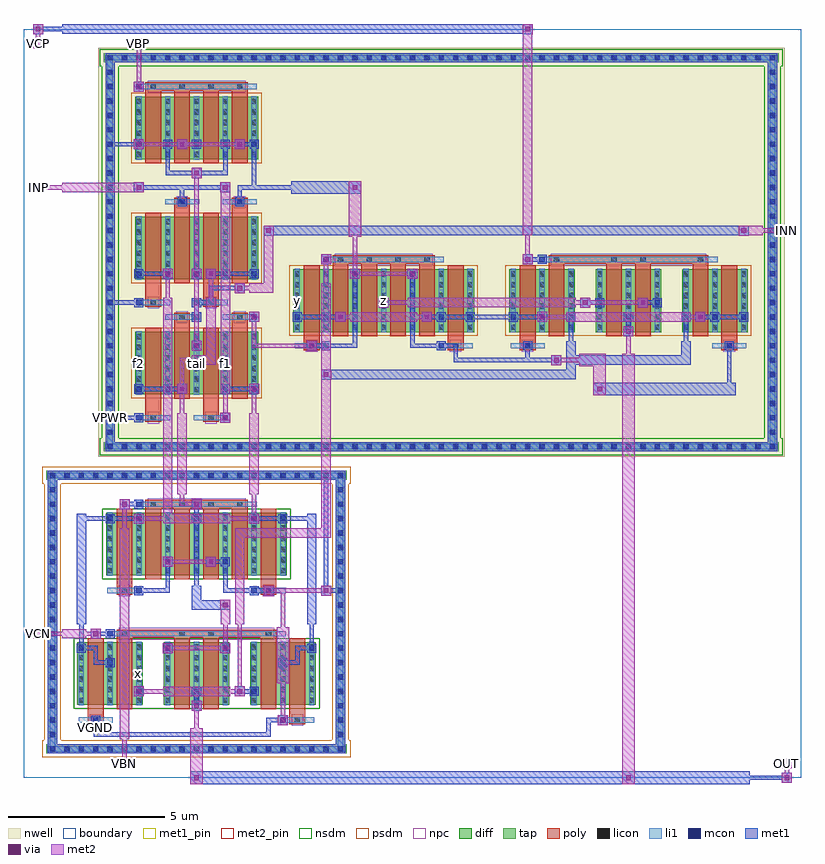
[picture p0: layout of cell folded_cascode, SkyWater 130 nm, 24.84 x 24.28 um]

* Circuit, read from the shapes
.subckt folded_cascode INN INP OUT VBN VBP VCN VCP VGND VPWR f1 f2 tail x y z
XM1 f1 VGND f1 VGND sky130_fd_pr__nfet_01v8 w=2 l=0.5 m=4
XM2 x VCN f1 VGND sky130_fd_pr__nfet_01v8 w=2 l=0.5 m=2
XM3 VGND VBN f1 VGND sky130_fd_pr__nfet_01v8 w=2 l=0.5 m=2
XM4 OUT VCN f2 VGND sky130_fd_pr__nfet_01v8 w=2 l=0.5 m=2
XM5 f2 VBN VGND VGND sky130_fd_pr__nfet_01v8 w=2 l=0.5 m=2
XM6 f2 VPWR f2 VPWR sky130_fd_pr__pfet_01v8 w=2 l=0.5 m=2
XM7 f1 VPWR f1 VPWR sky130_fd_pr__pfet_01v8 w=2 l=0.5 m=2
XM8 tail VBP VPWR VPWR sky130_fd_pr__pfet_01v8 w=2 l=0.5 m=4
XM9 tail INN f2 VPWR sky130_fd_pr__pfet_01v8 w=2 l=0.5 m=2
XM10 tail INP f1 VPWR sky130_fd_pr__pfet_01v8 w=2 l=0.5 m=2
XM11 y VPWR y VPWR sky130_fd_pr__pfet_01v8 w=2 l=0.5 m=4
XM12 VPWR x y VPWR sky130_fd_pr__pfet_01v8 w=2 l=0.5 m=2
XM13 z x VPWR VPWR sky130_fd_pr__pfet_01v8 w=2 l=0.5 m=2
XM14 x VCP y VPWR sky130_fd_pr__pfet_01v8 w=2 l=0.5 m=2
XM15 OUT VCP z VPWR sky130_fd_pr__pfet_01v8 w=2 l=0.5 m=2
.ends

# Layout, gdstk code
import gdstk
lib = gdstk.Library(unit=1e-6, precision=1e-09)
def R(c, l, rs):  # rectangles x0, y0, x1, y1
    for r in rs: c.add(gdstk.rectangle(r[:2], r[2:], *l))
def A(c, l, x, y, w, h, nx, ny, dx, dy):  # array of equal rectangles
    R(c, l, [(x+i*dx, y+j*dy, x+i*dx+w, y+j*dy+h) for i in range(nx) for j in range(ny)])
nwell = (64, 20)
diff = (65, 20)
tap = (65, 44)
poly = (66, 20)
licon = (66, 44)
li1 = (67, 20)
mcon = (67, 44)
met1_pin = (68, 16)
met1 = (68, 20)
via = (68, 44)
met2_pin = (69, 16)
met2 = (69, 20)
nsdm = (93, 44)
psdm = (94, 20)
npc = (95, 20)
boundary = (235, 4)

folded_cascode = lib.new_cell('folded_cascode')
R(folded_cascode, nwell, [(2.375,10.255,24.305,23.325)])
A(folded_cascode, diff, 1.715, 2.325, 2.09, 2, 3, 1, 2.76, 0)
A(folded_cascode, diff, 15.515, 14.24, 2.09, 2, 3, 1, 2.76, 0)
R(folded_cascode, diff, [(2.635,6.465,8.405,8.465), (3.555,12.245,7.485,14.245), (8.615,14.24,14.385,16.24), (3.555,15.925,7.485,17.925), (3.555,19.76,7.485,21.76)])
R(folded_cascode, tap, [(0.715,0.775,10.325,1.065), (0.775,0.775,1.065,9.805), (9.975,0.775,10.265,9.805), (0.715,9.515,10.325,9.805), (2.555,10.435,24.125,10.725), (2.615,10.435,2.905,23.145), (23.775,10.435,24.065,23.145), (2.555,22.855,24.125,23.145)])
A(folded_cascode, poly, 3.89, 6.335, 0.5, 2.405, 4, 1, 0.92, 0)
A(folded_cascode, poly, 9.87, 14.11, 0.5, 2.45, 4, 1, 0.92, 0)
A(folded_cascode, poly, 3.89, 19.63, 0.5, 2.45, 4, 1, 0.92, 0)
R(folded_cascode, poly, [(2.05,1.705,2.55,1.975), (8.49,1.705,8.99,1.975), (2.05,1.84,2.55,4.455), (8.49,1.84,8.99,4.455), (2.97,2.195,3.47,4.6), (4.81,2.195,5.31,4.6), (5.73,2.195,6.23,4.6), (7.57,2.195,8.07,4.6), (2.97,4.465,8.07,4.735), (2.97,5.845,3.47,6.115), (7.57,5.845,8.07,6.115), (2.97,5.98,3.47,8.595), (7.57,5.98,8.07,8.595), (3.89,8.605,7.15,8.875), (3.89,11.365,4.39,11.635), (5.73,11.365,6.23,11.635), (3.89,11.5,4.39,14.375), (5.73,11.5,6.23,14.375), (4.81,12.115,5.31,14.72), (6.65,12.115,7.15,14.72), (8.95,13.665,9.45,13.935), (13.55,13.665,14.05,13.935), (15.85,13.665,16.35,13.935), (22.29,13.665,22.79,13.935), (8.95,13.8,9.45,16.37), (13.55,13.8,14.05,16.37), (15.85,13.8,16.35,16.37), (22.29,13.8,22.79,16.37), (16.77,14.11,17.27,16.56), (18.61,14.11,19.11,16.56), (19.53,14.11,20.03,16.56), (21.37,14.11,21.87,16.56), (4.81,14.585,5.31,14.855), (6.65,14.585,7.15,14.855), (3.89,15.045,4.39,15.315), (5.73,15.045,6.23,15.315), (3.89,15.18,4.39,18.055), (5.73,15.18,6.23,18.055), (4.81,15.795,5.31,18.4), (6.65,15.795,7.15,18.4), (9.87,16.425,13.13,16.695), (16.77,16.425,21.87,16.695), (4.81,18.265,5.31,18.535), (6.65,18.265,7.15,18.535), (3.89,21.945,7.15,22.215)])
A(folded_cascode, licon, 0.835, 0.835, 0.17, 0.17, 21, 2, 0.46, 8.74)
A(folded_cascode, licon, 0.835, 1.295, 0.17, 0.17, 1, 18, 0, 0.46)
A(folded_cascode, licon, 10.035, 1.295, 0.17, 0.17, 1, 18, 0, 0.46)
A(folded_cascode, licon, 1.755, 2.39, 0.17, 0.17, 9, 6, 0.92, 0.34)
A(folded_cascode, licon, 2.675, 6.53, 0.17, 0.17, 7, 6, 0.92, 0.34)
A(folded_cascode, licon, 4.055, 8.655, 0.17, 0.17, 4, 2, 0.92, 13.34)
A(folded_cascode, licon, 2.675, 10.495, 0.17, 0.17, 47, 2, 0.46, 12.42)
A(folded_cascode, licon, 2.675, 10.955, 0.17, 0.17, 1, 26, 0, 0.46)
A(folded_cascode, licon, 23.835, 10.955, 0.17, 0.17, 1, 26, 0, 0.46)
A(folded_cascode, licon, 3.595, 12.31, 0.17, 0.17, 5, 6, 0.92, 0.34)
A(folded_cascode, licon, 8.655, 14.305, 0.17, 0.17, 7, 6, 0.92, 0.34)
A(folded_cascode, licon, 15.555, 14.305, 0.17, 0.17, 9, 6, 0.92, 0.34)
A(folded_cascode, licon, 3.595, 15.99, 0.17, 0.17, 5, 6, 0.92, 0.34)
A(folded_cascode, licon, 10.035, 16.475, 0.17, 0.17, 4, 1, 0.92, 0)
A(folded_cascode, licon, 3.595, 19.825, 0.17, 0.17, 5, 6, 0.92, 0.34)
R(folded_cascode, licon, [(2.215,1.755,2.385,1.925), (8.655,1.755,8.825,1.925), (3.135,4.515,3.305,4.685), (4.975,4.515,5.145,4.685), (5.895,4.515,6.065,4.685), (7.735,4.515,7.905,4.685), (3.135,5.895,3.305,6.065), (7.735,5.895,7.905,6.065), (4.055,11.415,4.225,11.585), (5.895,11.415,6.065,11.585), (9.115,13.715,9.285,13.885), (13.715,13.715,13.885,13.885), (16.015,13.715,16.185,13.885), (22.455,13.715,22.625,13.885), (4.975,14.635,5.145,14.805), (6.815,14.635,6.985,14.805), (4.055,15.095,4.225,15.265), (5.895,15.095,6.065,15.265), (16.935,16.475,17.105,16.645), (18.775,16.475,18.945,16.645), (19.695,16.475,19.865,16.645), (21.535,16.475,21.705,16.645), (4.975,18.315,5.145,18.485), (6.815,18.315,6.985,18.485)])
A(folded_cascode, li1, 1.755, 2.31, 0.17, 2.03, 9, 1, 0.92, 0)
A(folded_cascode, li1, 2.675, 6.45, 0.17, 2.03, 7, 1, 0.92, 0)
A(folded_cascode, li1, 3.595, 12.23, 0.17, 2.03, 5, 2, 0.92, 3.68)
A(folded_cascode, li1, 8.655, 14.225, 0.17, 2.03, 7, 1, 0.92, 0)
A(folded_cascode, li1, 15.555, 14.225, 0.17, 2.03, 9, 1, 0.92, 0)
A(folded_cascode, li1, 3.595, 19.745, 0.17, 2.03, 5, 1, 0.92, 0)
R(folded_cascode, li1, [(0.755,0.835,10.285,1.005), (0.835,0.835,1.005,9.745), (10.035,0.835,10.205,9.745), (1.755,1.755,2.845,1.925), (8.195,1.755,9.285,1.925), (2.675,4.515,8.365,4.685), (2.675,5.895,3.765,6.065), (7.275,5.895,8.365,6.065), (3.595,8.655,7.445,8.825), (0.755,9.575,10.285,9.745), (2.595,10.495,24.085,10.665), (2.675,10.495,2.845,23.085), (23.835,10.495,24.005,23.085), (3.595,11.415,4.685,11.585), (5.435,11.415,6.525,11.585), (8.655,13.715,9.745,13.885), (13.255,13.715,14.345,13.885), (15.555,13.715,16.645,13.885), (21.995,13.715,23.085,13.885), (4.515,14.635,5.605,14.805), (6.355,14.635,7.445,14.805), (3.595,15.095,4.685,15.265), (5.435,15.095,6.525,15.265), (9.575,16.475,13.425,16.645), (16.475,16.475,22.165,16.645), (4.515,18.315,5.605,18.485), (6.355,18.315,7.445,18.485), (3.595,21.995,7.445,22.165), (2.595,22.915,24.085,23.085)])
A(folded_cascode, mcon, 0.835, 0.835, 0.17, 0.17, 21, 2, 0.46, 8.74)
A(folded_cascode, mcon, 0.835, 1.295, 0.17, 0.17, 1, 18, 0, 0.46)
A(folded_cascode, mcon, 10.035, 1.295, 0.17, 0.17, 1, 18, 0, 0.46)
A(folded_cascode, mcon, 3.595, 2.675, 0.17, 0.17, 3, 2, 1.84, 5.52)
A(folded_cascode, mcon, 3.595, 5.895, 0.17, 0.17, 1, 3, 0, 2.76)
A(folded_cascode, mcon, 2.675, 10.495, 0.17, 0.17, 47, 2, 0.46, 12.42)
A(folded_cascode, mcon, 2.675, 10.955, 0.17, 0.17, 1, 3, 0, 0.46)
A(folded_cascode, mcon, 23.835, 10.955, 0.17, 0.17, 1, 8, 0, 0.46)
A(folded_cascode, mcon, 2.675, 12.335, 0.17, 0.17, 3, 1, 0.92, 0)
A(folded_cascode, mcon, 2.675, 12.795, 0.17, 0.17, 1, 7, 0, 0.46)
A(folded_cascode, mcon, 15.555, 14.635, 0.17, 0.17, 3, 1, 0.92, 0)
A(folded_cascode, mcon, 21.075, 14.635, 0.17, 0.17, 4, 1, 0.92, 0)
A(folded_cascode, mcon, 23.835, 15.095, 0.17, 0.17, 1, 17, 0, 0.46)
A(folded_cascode, mcon, 2.675, 16.015, 0.17, 0.17, 6, 2, 0.92, 4.14)
A(folded_cascode, mcon, 2.675, 16.475, 0.17, 0.17, 3, 1, 6.9, 0)
A(folded_cascode, mcon, 2.675, 16.935, 0.17, 0.17, 1, 7, 0, 0.46)
A(folded_cascode, mcon, 2.675, 20.615, 0.17, 0.17, 1, 5, 0, 0.46)
R(folded_cascode, mcon, [(2.215,1.755,2.385,1.925), (8.195,1.755,8.365,1.925), (2.675,3.595,2.845,3.765), (8.195,3.595,8.365,3.765), (1.755,4.055,1.925,4.225), (4.515,4.055,4.685,4.225), (6.355,4.055,6.525,4.225), (9.115,4.055,9.285,4.225), (2.675,4.515,2.845,4.685), (7.275,5.895,7.445,6.065), (4.515,6.815,4.685,6.985), (6.355,6.815,6.525,6.985), (2.675,8.195,2.845,8.365), (8.195,8.195,8.365,8.365), (6.355,11.415,6.525,11.585), (6.355,12.335,6.525,12.505), (7.275,12.335,7.445,12.505), (5.435,13.715,5.605,13.885), (9.575,13.715,9.745,13.885), (13.255,13.715,13.425,13.885), (16.015,13.715,16.185,13.885), (22.455,13.715,22.625,13.885), (5.435,14.635,5.605,14.805), (7.275,14.635,7.445,14.805), (8.655,14.635,8.825,14.805), (9.575,14.635,9.745,14.805), (13.255,14.635,13.425,14.805), (14.175,14.635,14.345,14.805), (19.235,14.635,19.405,14.805), (3.595,15.095,3.765,15.265), (5.435,15.095,5.605,15.265), (11.415,15.095,11.585,15.265), (18.315,15.095,18.485,15.265), (20.155,15.095,20.325,15.265), (10.495,16.015,10.665,16.185), (12.335,16.015,12.505,16.185), (4.975,18.315,5.145,18.485), (6.815,18.315,6.985,18.485), (3.595,21.995,3.765,22.165)])
R(folded_cascode, met1_pin, [(2.23,1.31,2.37,1.91), (2.69,11.43,2.83,11.57)])
A(folded_cascode, met1, 3.535, 2.615, 0.29, 0.29, 3, 2, 1.84, 5.52)
A(folded_cascode, met1, 3.535, 5.835, 0.29, 0.29, 1, 3, 0, 2.76)
A(folded_cascode, met1, 7.2, 14.56, 0.32, 0.32, 3, 1, 2.76, 0)
A(folded_cascode, met1, 15.495, 14.575, 0.29, 0.29, 3, 1, 0.92, 0)
A(folded_cascode, met1, 21.015, 14.575, 0.29, 0.29, 3, 1, 0.92, 0)
A(folded_cascode, met1, 3.535, 15.955, 0.29, 0.29, 5, 2, 0.92, 4.14)
R(folded_cascode, met1, [(5.32,-0.2,23.2,0.2), (5.32,-0.2,5.72,0.2), (19.12,-0.2,19.52,0.2), (24.22,-0.16,24.54,0.16), (22.93,-0.07,24.45,0.07), (0.775,0.775,1.065,9.805), (0.775,0.775,10.265,1.065), (9.975,0.775,10.265,9.805), (2.23,1.31,2.37,1.91), (2.23,1.31,7.89,1.45), (7.75,1.31,7.89,1.91), (8.12,1.68,8.44,2), (2.155,1.695,2.445,1.985), (8.135,1.695,8.425,1.985), (7.75,1.77,8.35,1.91), (5.36,2.14,5.68,2.46), (5.45,2.23,5.59,2.83), (3.52,2.6,3.84,2.92), (6.74,2.6,7.06,2.92), (6.83,2.69,7.43,2.83), (2.615,3.535,2.905,3.825), (8.135,3.535,8.425,3.825), (2.23,3.61,2.83,3.75), (2.23,3.61,2.37,4.21), (8.21,3.61,8.81,3.75), (8.67,3.61,8.81,4.21), (4.44,3.98,4.76,4.3), (6.28,3.98,6.6,4.3), (1.695,3.995,1.985,4.285), (4.455,3.995,4.745,4.285), (6.295,3.995,6.585,4.285), (9.055,3.995,9.345,4.285), (1.77,4.07,2.37,4.21), (1.77,4.07,1.91,5.13), (8.67,4.07,9.27,4.21), (9.13,4.07,9.27,5.13), (2.14,4.44,2.46,4.76), (2.615,4.455,2.905,4.745), (2.23,4.53,2.83,4.67), (1.69,4.91,1.99,8.43), (9.05,4.91,9.35,8.43), (6.28,5.36,6.6,5.68), (5.37,5.37,5.67,6.13), (5.37,5.37,6.59,5.67), (7.66,5.82,7.98,6.14), (9.5,5.82,9.82,6.14), (7.215,5.835,7.505,6.125), (3.61,5.91,4.67,6.05), (4.53,5.91,4.67,6.97), (5.45,5.91,5.59,8.35), (6.37,5.91,7.43,6.05), (6.37,5.91,6.51,6.97), (7.29,5.91,7.89,6.05), (9.59,5.91,9.73,9.73), (9.59,5.91,10.19,6.05), (10.05,5.91,10.19,6.05), (4.44,6.74,4.76,7.06), (5.82,6.74,6.14,7.06), (4.455,6.755,4.745,7.045), (6.295,6.755,6.585,7.045), (5.91,6.83,6.51,6.97), (3.52,8.12,3.84,8.44), (7.2,8.12,7.52,8.44), (2.615,8.135,2.905,8.425), (8.135,8.135,8.425,8.425), (1.77,8.21,2.83,8.35), (2.69,8.21,3.75,8.35), (5.45,8.21,5.59,8.81), (7.29,8.21,8.35,8.35), (8.21,8.21,9.27,8.35), (3.06,8.58,3.38,8.9), (5.36,8.58,5.68,8.9), (3.15,8.67,3.75,8.81), (0.775,9.515,10.265,9.805), (9.59,9.59,9.73,9.73), (2.615,10.435,24.065,10.725), (2.615,10.435,2.905,23.145), (23.775,10.435,24.065,23.145), (6.28,11.34,6.6,11.66), (6.295,11.355,6.585,11.645), (2.69,11.43,2.83,15.25), (2.69,11.43,3.75,11.57), (2.69,11.43,2.83,11.57), (18.2,12.22,18.6,12.62), (18.2,12.22,22.74,12.62), (4.9,12.26,5.22,12.58), (7.2,12.26,7.52,12.58), (3.535,12.275,3.825,12.565), (4.455,12.275,4.745,12.565), (6.295,12.275,6.585,12.565), (7.215,12.275,7.505,12.565), (3.61,12.35,4.67,12.49), (4.53,12.35,5.13,12.49), (6.37,12.35,7.43,12.49), (22.47,12.35,22.61,13.87), (9.5,12.72,9.82,13.04), (9.51,12.73,17.63,13.03), (17.33,12.73,17.63,13.95), (16.86,13.18,17.18,13.5), (17.33,13.19,21.31,13.49), (21.01,13.19,21.31,13.95), (13.73,13.27,13.87,13.87), (13.73,13.27,16.17,13.41), (16.03,13.27,17.09,13.41), (16.03,13.27,16.17,13.87), (5.36,13.64,5.68,13.96), (9.04,13.64,9.36,13.96), (5.375,13.655,5.665,13.945), (9.515,13.655,9.805,13.945), (13.195,13.655,13.485,13.945), (15.955,13.655,16.245,13.945), (22.395,13.655,22.685,13.945), (9.13,13.73,9.73,13.87), (9.59,13.73,10.65,13.87), (10.51,13.73,10.65,16.17), (12.35,13.73,12.49,16.17), (12.35,13.73,13.41,13.87), (13.27,13.73,13.87,13.87), (17.41,13.73,17.55,14.79), (21.09,13.73,21.23,14.79), (19.16,14.1,19.48,14.42), (19.25,14.19,19.39,14.79), (16.4,14.56,16.72,14.88), (21.46,14.56,21.78,14.88), (5.375,14.575,5.665,14.865), (7.215,14.575,7.505,14.865), (8.595,14.575,8.885,14.865), (9.515,14.575,9.805,14.865), (13.195,14.575,13.485,14.865), (14.115,14.575,14.405,14.865), (19.175,14.575,19.465,14.865), (5.45,14.65,5.59,15.25), (8.67,14.65,9.73,14.79), (9.59,14.65,10.19,14.79), (12.81,14.65,13.41,14.79), (13.27,14.65,14.33,14.79), (14.19,14.65,15.71,14.79), (15.57,14.65,16.63,14.79), (21.55,14.65,22.15,14.79), (22.01,14.65,23.07,14.79), (11.34,15.02,11.66,15.34), (17.78,15.02,18.1,15.34), (19.62,15.02,19.94,15.34), (3.535,15.035,3.825,15.325), (5.375,15.035,5.665,15.325), (11.355,15.035,11.645,15.325), (18.255,15.035,18.545,15.325), (20.095,15.035,20.385,15.325), (2.69,15.11,3.75,15.25), (2.69,15.11,2.83,20.31), (5.45,15.11,6.05,15.25), (5.91,15.11,6.05,15.71), (17.87,15.11,18.47,15.25), (19.71,15.11,20.31,15.25), (6.74,15.48,7.06,15.8), (5.91,15.57,6.97,15.71), (4.44,15.94,4.76,16.26), (5.36,15.94,5.68,16.26), (5.82,15.94,6.14,16.26), (10.42,15.94,10.74,16.26), (12.26,15.94,12.58,16.26), (10.435,15.955,10.725,16.245), (12.275,15.955,12.565,16.245), (3.61,16.03,4.67,16.17), (5.91,16.03,6.51,16.17), (6.37,16.03,7.43,16.17), (9.5,16.4,9.82,16.72), (15.94,16.4,16.26,16.72), (9.515,16.415,9.805,16.705), (16.415,16.415,16.705,16.705), (16.03,16.49,16.63,16.63), (7.66,17.32,7.98,17.64), (22.84,17.32,23.16,17.64), (7.67,17.33,23.15,17.63), (4.915,18.255,5.205,18.545), (6.755,18.255,7.045,18.545), (4.99,18.33,5.13,18.93), (6.83,18.33,6.97,18.93), (8.54,18.66,10.78,19.06), (10.38,18.66,10.78,19.06), (3.52,18.7,3.84,19.02), (6.28,18.7,6.6,19.02), (3.61,18.79,5.13,18.93), (4.99,18.79,6.51,18.93), (6.83,18.79,7.43,18.93), (7.29,18.79,8.81,18.93), (7.29,18.79,7.43,20.31), (5.36,19.16,5.68,19.48), (4.53,19.25,5.59,19.39), (4.53,19.25,4.67,20.31), (5.45,19.25,6.51,19.39), (6.37,19.25,6.51,20.31), (3.52,20.08,3.84,20.4), (4.9,20.08,5.22,20.4), (6.74,20.08,7.06,20.4), (2.69,20.17,3.75,20.31), (2.69,20.17,2.83,23.07), (4.99,20.17,5.59,20.31), (6.83,20.17,7.43,20.31), (3.52,21.92,3.84,22.24), (3.535,21.935,3.825,22.225), (2.615,22.855,24.065,23.145), (2.69,22.93,2.83,23.07), (0.3,23.76,0.62,24.08), (15.94,23.76,16.26,24.08), (1.23,23.77,16.25,24.07), (0.39,23.85,1.45,23.99)])
A(folded_cascode, via, 7.285, 14.645, 0.15, 0.15, 3, 1, 2.76, 0)
R(folded_cascode, via, [(5.445,-0.075,5.595,0.075), (19.245,-0.075,19.395,0.075), (24.305,-0.075,24.455,0.075), (8.205,1.765,8.355,1.915), (5.445,2.225,5.595,2.375), (3.605,2.685,3.755,2.835), (6.825,2.685,6.975,2.835), (4.525,4.065,4.675,4.215), (6.365,4.065,6.515,4.215), (2.225,4.525,2.375,4.675), (6.365,5.445,6.515,5.595), (7.745,5.905,7.895,6.055), (9.585,5.905,9.735,6.055), (4.525,6.825,4.675,6.975), (5.905,6.825,6.055,6.975), (3.605,8.205,3.755,8.355), (7.285,8.205,7.435,8.355), (3.145,8.665,3.295,8.815), (5.445,8.665,5.595,8.815), (6.365,11.425,6.515,11.575), (4.985,12.345,5.135,12.495), (7.285,12.345,7.435,12.495), (18.325,12.345,18.475,12.495), (9.585,12.805,9.735,12.955), (16.945,13.265,17.095,13.415), (5.445,13.725,5.595,13.875), (9.125,13.725,9.275,13.875), (19.245,14.185,19.395,14.335), (16.485,14.645,16.635,14.795), (21.545,14.645,21.695,14.795), (11.425,15.105,11.575,15.255), (17.865,15.105,18.015,15.255), (19.705,15.105,19.855,15.255), (6.825,15.565,6.975,15.715), (4.525,16.025,4.675,16.175), (5.445,16.025,5.595,16.175), (5.905,16.025,6.055,16.175), (10.505,16.025,10.655,16.175), (12.345,16.025,12.495,16.175), (9.585,16.485,9.735,16.635), (16.025,16.485,16.175,16.635), (7.745,17.405,7.895,17.555), (22.925,17.405,23.075,17.555), (3.605,18.785,3.755,18.935), (6.365,18.785,6.515,18.935), (10.505,18.785,10.655,18.935), (5.445,19.245,5.595,19.395), (3.605,20.165,3.755,20.315), (4.985,20.165,5.135,20.315), (6.825,20.165,6.975,20.315), (3.605,22.005,3.755,22.155), (0.385,23.845,0.535,23.995), (16.025,23.845,16.175,23.995)])
R(folded_cascode, met2_pin, [(3.07,0.31,3.37,0.61), (24.23,0.31,24.53,0.61), (0.31,4.45,0.61,4.75), (24.23,17.33,24.53,17.63), (0.31,18.71,0.61,19.01), (0.31,23.31,0.61,23.61), (3.53,23.31,3.83,23.61)])
A(folded_cascode, met2, 7.2, 14.56, 0.32, 0.32, 3, 1, 2.76, 0)
R(folded_cascode, met2, [(5.32,-0.2,5.72,0.2), (5.32,-0.2,5.72,1.58), (19.12,-0.2,19.52,13.54), (19.12,-0.2,19.52,0.2), (24.22,-0.16,24.54,0.16), (24.31,-0.07,24.45,0.53), (3.07,0.31,3.37,0.61), (24.23,0.31,24.53,0.61), (3.15,0.39,3.29,1.45), (3.15,0.39,3.29,0.53), (24.31,0.39,24.45,0.53), (3.07,1.23,3.37,7.97), (5.45,1.31,5.59,2.37), (8.12,1.68,8.44,2), (8.21,1.77,8.35,3.29), (5.36,2.14,5.68,2.46), (3.52,2.6,3.84,2.92), (6.74,2.6,7.06,2.92), (4.45,2.61,6.59,2.91), (3.61,2.69,4.67,2.83), (6.37,2.69,6.97,2.83), (6.83,2.69,6.97,5.13), (8.08,3.02,8.48,4.8), (4.44,3.98,4.76,4.3), (6.28,3.98,6.6,4.3), (4.53,4.07,6.51,4.21), (6.37,4.07,6.51,5.13), (2.14,4.44,2.46,4.76), (0.31,4.45,0.61,4.75), (1.23,4.45,1.99,4.75), (0.39,4.53,1.45,4.67), (0.39,4.53,0.53,4.67), (1.77,4.53,2.37,4.67), (8.21,4.53,8.35,6.05), (6.29,4.91,6.59,5.67), (6.75,4.91,7.05,7.97), (6.28,5.36,6.6,5.68), (7.66,5.82,7.98,6.14), (9.5,5.82,9.82,6.14), (7.75,5.91,9.73,6.05), (4.44,6.74,4.76,7.06), (5.82,6.74,6.14,7.06), (4.53,6.83,6.05,6.97), (6.75,7.67,9.81,7.97), (9.51,7.67,9.81,15.79), (3.15,7.75,3.29,8.81), (3.52,8.12,3.84,8.44), (7.2,8.12,7.52,8.44), (4.45,8.13,4.75,15.33), (4.45,8.13,6.59,8.43), (3.61,8.21,4.67,8.35), (6.37,8.21,7.43,8.35), (7.29,8.21,7.43,9.27), (3.06,8.58,3.38,8.9), (5.36,8.58,5.68,8.9), (4.99,8.67,5.59,8.81), (4.99,8.67,5.13,9.27), (4.91,9.05,5.21,11.65), (7.21,9.05,7.51,11.65), (6.28,11.34,6.6,11.66), (4.99,11.43,5.13,12.49), (6.37,11.43,6.51,12.49), (7.29,11.43,7.43,12.49), (18.2,12.22,18.6,13.54), (18.2,12.22,18.6,12.62), (4.9,12.26,5.22,12.58), (7.2,12.26,7.52,12.58), (6.29,12.27,6.59,19.01), (4.99,12.35,5.13,13.41), (9.5,12.72,9.82,13.04), (17.74,13.14,18.6,13.54), (16.86,13.18,17.18,13.5), (5.37,13.19,6.13,13.49), (5.83,13.19,6.13,15.33), (4.99,13.27,5.59,13.41), (16.95,13.27,18.01,13.41), (19.25,13.27,19.39,14.33), (5.36,13.64,5.68,13.96), (9.04,13.64,9.36,13.96), (5.45,13.73,5.59,16.17), (7.29,13.73,7.43,14.79), (7.29,13.73,9.27,13.87), (19.16,14.1,19.48,14.42), (16.4,14.56,16.72,14.88), (21.46,14.56,21.78,14.88), (10.43,14.57,12.57,14.87), (17.33,14.57,21.31,14.87), (10.05,14.65,10.65,14.79), (12.35,14.65,12.95,14.79), (16.49,14.65,17.55,14.79), (21.09,14.65,21.69,14.79), (11.34,15.02,11.66,15.34), (17.78,15.02,18.1,15.34), (19.62,15.02,19.94,15.34), (12.27,15.03,17.63,15.33), (4.53,15.11,4.67,16.17), (5.91,15.11,6.05,16.17), (11.43,15.11,12.49,15.25), (17.41,15.11,18.01,15.25), (17.87,15.11,19.85,15.25), (6.74,15.48,7.06,15.8), (7.21,15.49,7.97,15.79), (7.67,15.49,7.97,17.63), (6.83,15.57,7.43,15.71), (9.59,15.57,9.73,16.63), (4.44,15.94,4.76,16.26), (5.36,15.94,5.68,16.26), (5.82,15.94,6.14,16.26), (10.42,15.94,10.74,16.26), (12.26,15.94,12.58,16.26), (5.45,16.03,5.59,19.39), (10.51,16.03,12.49,16.17), (10.51,16.03,10.65,17.55), (9.5,16.4,9.82,16.72), (15.94,16.4,16.26,16.72), (16.03,16.49,16.17,17.55), (10.38,17.28,10.78,19.06), (7.66,17.32,7.98,17.64), (22.84,17.32,23.16,17.64), (15.95,17.33,16.25,24.07), (22.85,17.33,23.61,17.63), (24.23,17.33,24.53,17.63), (23.39,17.41,24.45,17.55), (24.31,17.41,24.45,17.55), (10.38,18.66,10.78,19.06), (3.52,18.7,3.84,19.02), (6.28,18.7,6.6,19.02), (0.31,18.71,0.61,19.01), (1.23,18.71,3.83,19.01), (0.39,18.79,1.45,18.93), (0.39,18.79,0.53,18.93), (5.36,19.16,5.68,19.48), (3.52,20.08,3.84,20.4), (4.9,20.08,5.22,20.4), (6.74,20.08,7.06,20.4), (3.61,20.17,5.13,20.31), (4.99,20.17,6.97,20.31), (3.52,21.92,3.84,22.24), (3.61,22.01,3.75,23.53), (0.31,23.31,0.61,23.61), (3.53,23.31,3.83,23.61), (0.39,23.39,0.53,23.53), (0.39,23.39,0.53,23.99), (3.61,23.39,3.75,23.53), (0.3,23.76,0.62,24.08), (15.94,23.76,16.26,24.08)])
R(folded_cascode, nsdm, [(1.59,2.2,9.45,4.45), (2.51,6.34,8.53,8.59), (2.43,10.31,24.25,10.85), (2.49,10.85,3.03,22.73), (23.65,10.85,24.19,22.73), (2.43,22.73,24.25,23.27)])
R(folded_cascode, psdm, [(0.59,0.65,10.45,1.19), (0.65,1.19,1.19,9.39), (9.85,1.19,10.39,9.39), (0.59,9.39,10.45,9.93), (3.43,12.12,7.61,14.37), (8.49,14.115,14.51,16.365), (15.39,14.115,23.25,16.365), (3.43,15.8,7.61,18.05), (3.43,19.635,7.61,21.885)])
R(folded_cascode, npc, [(2.115,1.655,2.485,2.025), (8.555,1.655,8.925,2.025), (3.035,4.415,8.005,4.785), (3.035,5.795,3.405,6.165), (7.635,5.795,8.005,6.165), (3.955,8.555,7.085,8.925), (3.955,11.315,4.325,11.685), (5.795,11.315,6.165,11.685), (9.015,13.615,9.385,13.985), (13.615,13.615,13.985,13.985), (15.915,13.615,16.285,13.985), (22.355,13.615,22.725,13.985), (4.875,14.535,5.245,14.905), (6.715,14.535,7.085,14.905), (3.955,14.995,4.325,15.365), (5.795,14.995,6.165,15.365), (9.935,16.375,13.065,16.745), (16.835,16.375,21.805,16.745), (4.875,18.215,5.245,18.585), (6.715,18.215,7.085,18.585), (3.955,21.895,7.085,22.265)])
R(folded_cascode, boundary, [(0,0,24.84,23.92)])
folded_cascode.add(gdstk.Label('f2', (3.68,13.245), layer=67, texttype=5))
folded_cascode.add(gdstk.Label('tail', (5.52,13.245), layer=67, texttype=5))
folded_cascode.add(gdstk.Label('f1', (6.44,13.245), layer=67, texttype=5))
folded_cascode.add(gdstk.Label('x', (3.68,3.325), layer=67, texttype=5))
folded_cascode.add(gdstk.Label('y', (8.74,15.24), layer=67, texttype=5))
folded_cascode.add(gdstk.Label('z', (11.5,15.24), layer=67, texttype=5))
folded_cascode.add(gdstk.Label('VPWR', (2.76,11.5), layer=68, texttype=5))
folded_cascode.add(gdstk.Label('VGND', (2.3,1.61), layer=68, texttype=5))
folded_cascode.add(gdstk.Label('INP', (0.46,18.86), layer=69, texttype=5))
folded_cascode.add(gdstk.Label('INN', (24.38,17.48), layer=69, texttype=5))
folded_cascode.add(gdstk.Label('VBP', (3.68,23.46), layer=69, texttype=5))
folded_cascode.add(gdstk.Label('VBN', (3.22,0.46), layer=69, texttype=5))
folded_cascode.add(gdstk.Label('VCN', (0.46,4.6), layer=69, texttype=5))
folded_cascode.add(gdstk.Label('VCP', (0.46,23.46), layer=69, texttype=5))
folded_cascode.add(gdstk.Label('OUT', (24.38,0.46), layer=69, texttype=5))
folded_cascode.add(gdstk.Label('VPWR', (2.76,11.5), layer=68, texttype=16))
folded_cascode.add(gdstk.Label('VGND', (2.3,1.61), layer=68, texttype=16))
folded_cascode.add(gdstk.Label('INP', (0.46,18.86), layer=69, texttype=16))
folded_cascode.add(gdstk.Label('INN', (24.38,17.48), layer=69, texttype=16))
folded_cascode.add(gdstk.Label('VBP', (3.68,23.46), layer=69, texttype=16))
folded_cascode.add(gdstk.Label('VBN', (3.22,0.46), layer=69, texttype=16))
folded_cascode.add(gdstk.Label('VCN', (0.46,4.6), layer=69, texttype=16))
folded_cascode.add(gdstk.Label('VCP', (0.46,23.46), layer=69, texttype=16))
folded_cascode.add(gdstk.Label('OUT', (24.38,0.46), layer=69, texttype=16))

lib.write_gds('folded_cascode.gds')
